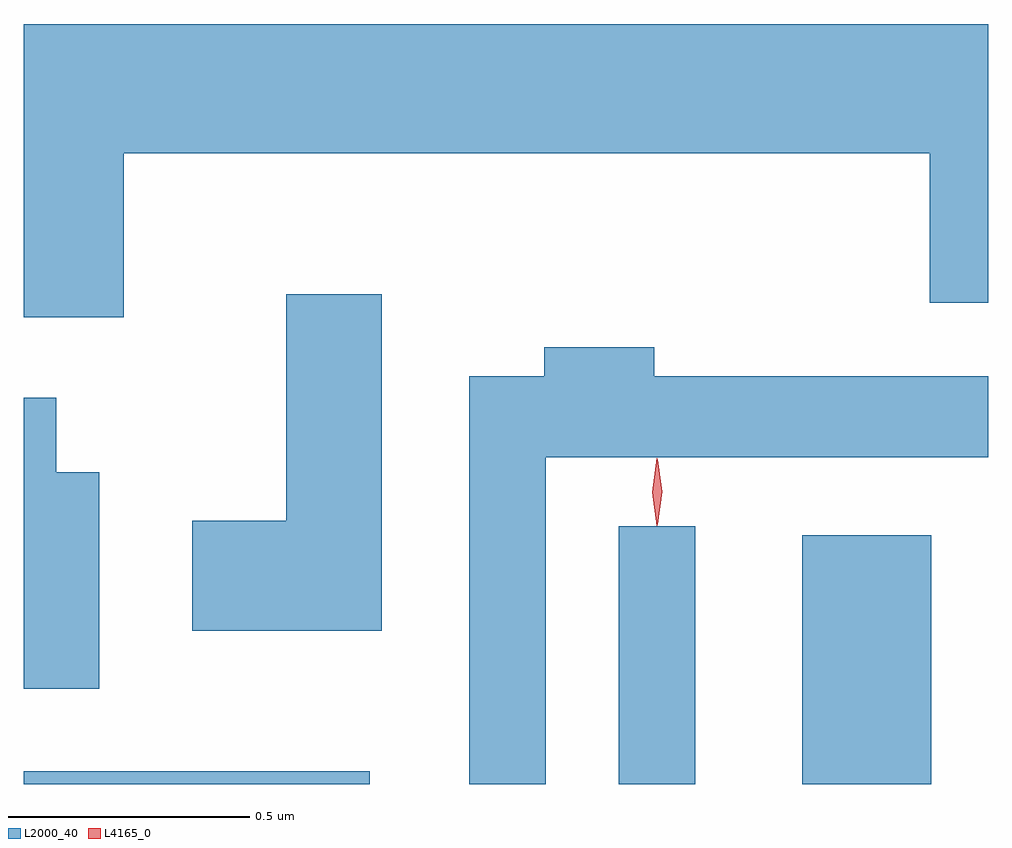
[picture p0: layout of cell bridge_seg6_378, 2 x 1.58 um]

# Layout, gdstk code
import gdstk
lib = gdstk.Library(unit=1e-6, precision=1e-09)
def R(c, l, rs):  # rectangles x0, y0, x1, y1
    for r in rs: c.add(gdstk.rectangle(r[:2], r[2:], *l))
def P(c, l, *ps):  # polygons
    for p in ps: c.add(gdstk.Polygon(p, *l))
L2000_40 = (2000, 40)
L4165_0 = (4165, 0)

bridge_seg6_378 = lib.new_cell('bridge_seg6_378')
R(bridge_seg6_378, L2000_40, [(1289.232,1555.388,1289.949,1555.414), (1290.466,1555.388,1290.624,1555.923), (1290.846,1555.388,1291.114,1555.904)])
P(bridge_seg6_378, L2000_40, [(1289.439,1556.696),(1291.111,1556.696),(1291.111,1556.386),(1291.232,1556.386),(1291.232,1556.964),(1289.232,1556.964),(1289.232,1556.356),(1289.439,1556.356)],
  [(1289.974,1556.404),(1289.776,1556.404),(1289.776,1555.934),(1289.581,1555.934),(1289.581,1555.706),(1289.974,1555.706)],
  [(1290.314,1556.066),(1291.232,1556.066),(1291.232,1556.234),(1290.539,1556.234),(1290.539,1556.294),(1290.311,1556.294),(1290.311,1556.234),(1290.156,1556.234),(1290.156,1555.388),(1290.314,1555.388)],
  [(1289.389,1556.034),(1289.299,1556.034),(1289.299,1556.189),(1289.232,1556.189),(1289.232,1555.586),(1289.389,1555.586)])
P(bridge_seg6_378, L4165_0, [(1290.546,1555.927),(1290.546,1555.927),(1290.536,1555.994),(1290.546,1556.06),(1290.546,1556.061),(1290.547,1556.06),(1290.556,1555.994),(1290.547,1555.927)],
  [(1290.545,1555.924),(1290.545,1555.924),(1290.535,1555.993),(1290.545,1556.063),(1290.545,1556.063),(1290.546,1556.063),(1290.555,1555.993),(1290.546,1555.924)])

lib.write_gds('bridge_seg6_378.gds')
